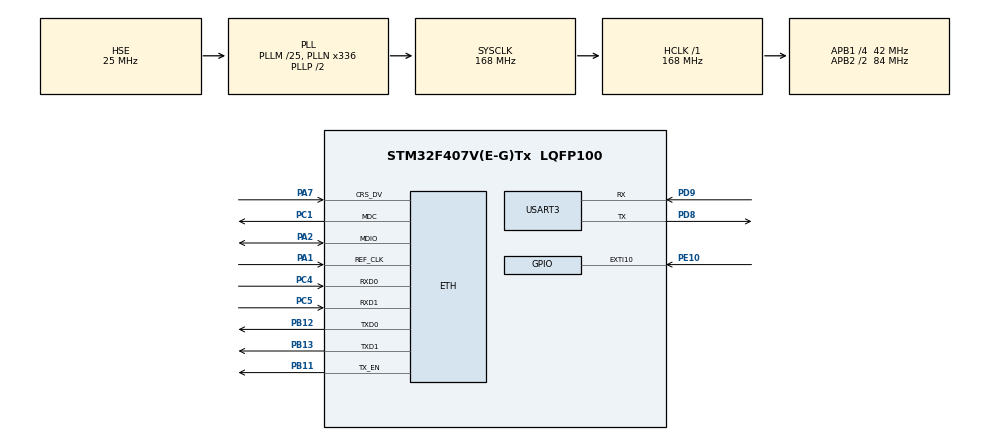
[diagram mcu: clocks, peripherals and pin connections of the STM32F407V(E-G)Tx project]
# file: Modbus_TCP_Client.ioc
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ETH.MediaInterface=HAL_ETH_RMII_MODE
LWIP.BSP.number=1
LWIP.GATEWAY_ADDRESS=192.168.165.254
LWIP.IP_ADDRESS=192.168.165.041
LWIP.LWIP_DHCP=0
LWIP.MEM_SIZE=1024*10
LWIP.NETMASK_ADDRESS=255.255.255.000
LWIP.Version=v2.1.2_Cube
LWIP0.BSP.STBoard=false
LWIP0.BSP.api=BSP_COMPONENT_DRIVER
LWIP0.BSP.component=DP83848
LWIP0.BSP.instance=DP83848
LWIP0.BSP.name=Driver_PHY
LWIP0.BSP.semaphore=S_DP83848
LWIP0.BSP.solution=DP83848
Mcu.Family=STM32F4
Mcu.Name=STM32F407V(E-G)Tx
Mcu.Package=LQFP100
NVIC.ETH_IRQn=true\:0\:0\:false\:false\:true\:true\:true\:true
NVIC.EXTI15_10_IRQn=true\:0\:0\:false\:false\:true\:true\:true\:true
NVIC.PriorityGroup=NVIC_PRIORITYGROUP_4
NVIC.USART3_IRQn=true\:0\:0\:false\:false\:true\:true\:true\:true
PA1.Mode=RMII
PA1.Signal=ETH_REF_CLK
PA13.Mode=Serial_Wire
PA13.Signal=SYS_JTMS-SWDIO
PA14.Mode=Serial_Wire
PA14.Signal=SYS_JTCK-SWCLK
PA2.Mode=RMII
PA2.Signal=ETH_MDIO
PA7.Mode=RMII
PA7.Signal=ETH_CRS_DV
PB11.Mode=RMII
PB11.Signal=ETH_TX_EN
PB12.Mode=RMII
PB12.Signal=ETH_TXD0
PB13.Mode=RMII
PB13.Signal=ETH_TXD1
PC1.Mode=RMII
PC1.Signal=ETH_MDC
PC4.Mode=RMII
PC4.Signal=ETH_RXD0
PC5.Mode=RMII
PC5.Signal=ETH_RXD1
PD8.Mode=Asynchronous
PD8.Signal=USART3_TX
PD9.Mode=Asynchronous
PD9.Signal=USART3_RX
PE10.Signal=GPXTI10
PH0-OSC_IN.Mode=HSE-External-Oscillator
PH0-OSC_IN.Signal=RCC_OSC_IN
PH1-OSC_OUT.Mode=HSE-External-Oscillator
PH1-OSC_OUT.Signal=RCC_OSC_OUT
ProjectManager.HeapSize=0x200
ProjectManager.StackSize=0x400
ProjectManager.TargetToolchain=STM32CubeIDE
RCC.48MHZClocksFreq_Value=84000000
RCC.AHBFreq_Value=168000000
RCC.APB1CLKDivider=RCC_HCLK_DIV4
RCC.APB1Freq_Value=42000000
RCC.APB1TimFreq_Value=84000000
RCC.APB2CLKDivider=RCC_HCLK_DIV2
RCC.APB2Freq_Value=84000000
RCC.APB2TimFreq_Value=168000000
RCC.CortexFreq_Value=168000000
RCC.HCLKFreq_Value=168000000
RCC.HSE_VALUE=25000000
RCC.HSI_VALUE=16000000
RCC.LSE_VALUE=32768
RCC.PLLM=25
RCC.PLLN=336
RCC.PLLSourceVirtual=RCC_PLLSOURCE_HSE
RCC.SYSCLKFreq_VALUE=168000000
RCC.SYSCLKSource=RCC_SYSCLKSOURCE_PLLCLK
RCC.VCOOutputFreq_Value=336000000
USART3.VirtualMode=VM_ASYNC
VP_LWIP_VS_Enabled.Mode=Enabled
board=custom

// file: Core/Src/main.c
/* USER CODE BEGIN Header */
/**
  ******************************************************************************
  * @file           : main.c
  * @brief          : Main program body
  ******************************************************************************
  * @attention
  *
  * Copyright (c) 2026 STMicroelectronics.
  * All rights reserved.
  *
  * This software is licensed under terms that can be found in the LICENSE file
  * in the root directory of this software component.
  * If no LICENSE file comes with this software, it is provided AS-IS.
  *
  ******************************************************************************
  */
/* USER CODE END Header */
#include "main.h"
#include "lwip.h"

/* USER CODE BEGIN Includes */
#include "Modbus_Client.h"
#include "Modbus_ClientRequest.h"
/* USER CODE END Includes */

UART_HandleTypeDef huart3;

void SystemClock_Config(void);
static void MX_GPIO_Init(void);
static void MX_USART3_UART_Init(void);
/* USER CODE BEGIN PFP */
volatile int isPressed = 0;y
/* USER CODE END PFP */

/* USER CODE BEGIN 0 */
int _write(int fd, unsigned char *buf, int len) {
  if (fd == 1 || fd == 2) {
    HAL_UART_Transmit(&huart3, buf, len, 999);
  }
  return len;
}

/* USER CODE END 0 */

int main(void)
{

  /* MCU Configuration--------------------------------------------------------*/

  /* Reset of all peripherals, Initializes the Flash interface and the Systick. */
  HAL_Init();

  /* Configure the system clock */
  SystemClock_Config();

  /* USER CODE BEGIN SysInit */
  HAL_Delay(3000);
  /* USER CODE END SysInit */

  /* Initialize all configured peripherals */
  MX_GPIO_Init();
  MX_LWIP_Init();
  MX_USART3_UART_Init();
  /* USER CODE BEGIN 2 */
  int counter = 0;

//  void HAL_GPIO_EXTI_Callback(uint16_t GPIO_Pin)
//  {
//  	isPressed = 1;
//  }

  /* USER CODE END 2 */

  /* Infinite loop */
  /* USER CODE BEGIN WHILE */
  while (1)
  {
//	  printf("Helloworld\r\n");
//	  HAL_Delay(1000);
	  MX_LWIP_Process();
	  Modbus_Client_Process("192.168.165.125", 502);
	  if (isPressed == 1)
	  {
		  HAL_Delay(200);  // debouncing
		  isPressed = 0;
		  counter++;

		  switch (counter)
		  {
		  case 1:
			  MB_ReadHoldingRegisters(counter, 1, 5, 10);
			  break;
		  case 2:
			  MB_ReadInputRegisters(counter, 1, 7, 3);
			  break;
		  case 3:
			  MB_ReadCoils(counter, 1, 10, 8);
			  break;
		  case 4:
			  MB_ReadDiscreteInputs(counter, 1, 8, 5);
			  break;
		  default:
			  break;
		  }

		  if (counter >= 4) counter = 0;
	  }
    /* USER CODE END WHILE */

  }
}

void SystemClock_Config(void)
{
  RCC_OscInitTypeDef RCC_OscInitStruct = {0};
  RCC_ClkInitTypeDef RCC_ClkInitStruct = {0};

  /** Configure the main internal regulator output voltage
  */
  __HAL_RCC_PWR_CLK_ENABLE();
  __HAL_PWR_VOLTAGESCALING_CONFIG(PWR_REGULATOR_VOLTAGE_SCALE1);

  /** Initializes the RCC Oscillators according to the specified parameters
  * in the RCC_OscInitTypeDef structure.
  */
  RCC_OscInitStruct.OscillatorType = RCC_OSCILLATORTYPE_HSE;
  RCC_OscInitStruct.HSEState = RCC_HSE_ON;
  RCC_OscInitStruct.PLL.PLLState = RCC_PLL_ON;
  RCC_OscInitStruct.PLL.PLLSource = RCC_PLLSOURCE_HSE;
  RCC_OscInitStruct.PLL.PLLM = 25;
  RCC_OscInitStruct.PLL.PLLN = 336;
  RCC_OscInitStruct.PLL.PLLP = RCC_PLLP_DIV2;
  RCC_OscInitStruct.PLL.PLLQ = 4;
  if (HAL_RCC_OscConfig(&RCC_OscInitStruct) != HAL_OK)
  {
    Error_Handler();
  }

  /** Initializes the CPU, AHB and APB buses clocks
  */
  RCC_ClkInitStruct.ClockType = RCC_CLOCKTYPE_HCLK|RCC_CLOCKTYPE_SYSCLK
                              |RCC_CLOCKTYPE_PCLK1|RCC_CLOCKTYPE_PCLK2;
  RCC_ClkInitStruct.SYSCLKSource = RCC_SYSCLKSOURCE_PLLCLK;
  RCC_ClkInitStruct.AHBCLKDivider = RCC_SYSCLK_DIV1;
  RCC_ClkInitStruct.APB1CLKDivider = RCC_HCLK_DIV4;
  RCC_ClkInitStruct.APB2CLKDivider = RCC_HCLK_DIV2;

  if (HAL_RCC_ClockConfig(&RCC_ClkInitStruct, FLASH_LATENCY_5) != HAL_OK)
  {
    Error_Handler();
  }
}

static void MX_USART3_UART_Init(void)
{

  huart3.Instance = USART3;
  huart3.Init.BaudRate = 115200;
  huart3.Init.WordLength = UART_WORDLENGTH_8B;
  huart3.Init.StopBits = UART_STOPBITS_1;
  huart3.Init.Parity = UART_PARITY_NONE;
  huart3.Init.Mode = UART_MODE_TX_RX;
  huart3.Init.HwFlowCtl = UART_HWCONTROL_NONE;
  huart3.Init.OverSampling = UART_OVERSAMPLING_16;
  if (HAL_UART_Init(&huart3) != HAL_OK)
  {
    Error_Handler();
  }

}

static void MX_GPIO_Init(void)
{
  GPIO_InitTypeDef GPIO_InitStruct = {0};

  /* GPIO Ports Clock Enable */
  __HAL_RCC_GPIOH_CLK_ENABLE();
  __HAL_RCC_GPIOC_CLK_ENABLE();
  __HAL_RCC_GPIOA_CLK_ENABLE();
  __HAL_RCC_GPIOE_CLK_ENABLE();
  __HAL_RCC_GPIOB_CLK_ENABLE();
  __HAL_RCC_GPIOD_CLK_ENABLE();

  /*Configure GPIO pin : PE10 */
  GPIO_InitStruct.Pin = GPIO_PIN_10;
  GPIO_InitStruct.Mode = GPIO_MODE_IT_RISING;
  GPIO_InitStruct.Pull = GPIO_NOPULL;
  HAL_GPIO_Init(GPIOE, &GPIO_InitStruct);

  /* EXTI interrupt init*/
  HAL_NVIC_SetPriority(EXTI15_10_IRQn, 0, 0);
  HAL_NVIC_EnableIRQ(EXTI15_10_IRQn);

}

void Error_Handler(void)
{
  __disable_irq();
  while (1)
  {
  }
}
